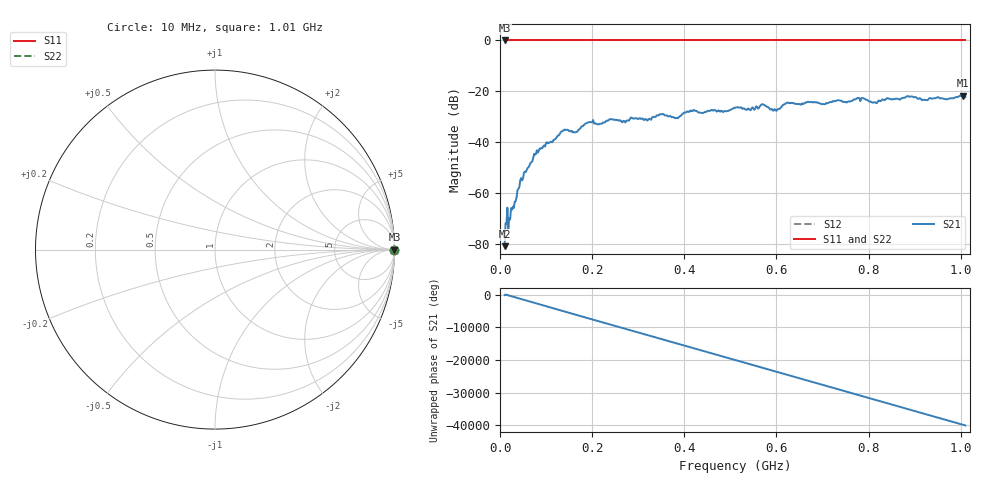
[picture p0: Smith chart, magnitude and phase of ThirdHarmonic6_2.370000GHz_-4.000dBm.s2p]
! 8/17/2025 3:42:01 AM
! C:\ANRITSUVNA\TEMP\TEMP.S2P
! CHANNEL.1
! TR.MEASUREMENT
! RAW.DATA
! RF.CORRECTION.OFF
! AVERAGING.OFF
! IF.BANDWIDTH: 5KHZ
! SWEEPTYPE:  FREQ.SWEEP(Linear)
! Reference Plane Port Info
! PORT:  PORT1  PORT2
! DISTANCE:  0  m  0  m
! TIME:  0  s  0  s
! PHASE.OFFSET:  0  deg.  0  deg.
! LOSS:  0  dB  0  dB
! REF.LOSS:  0  dB  0  dB
! REF.FREQ:  0  Hz  0  Hz
! Power Info
! POWER:  -20  dBm  -20  dBm
! EFF.POWER:  -20  dBm  -20  dBm
! SOURCE.ATTEN:  0  dB  0  dB
! TEST.ATTEN:  0  dB  0  dB
# GHZ S RI R 50.0
! FREQ.GHZ  S11RE  S11IM  S21RE  S21IM  S12RE  S12IM  S22RE  S22IM
!; PortSelection: Port_12
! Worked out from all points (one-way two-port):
!   501 points, 10 MHz to 1.01 GHz, reference 50 ohm
!   highest |S21| = -21.64 dB at 1.004 GHz (marker M1); lowest = -80.8 dB at 10 MHz (marker M2)
!   lowest |S11| = 0.0 dB at 10 MHz (marker M3)
!   |S11| at or under -10 dB: nowhere
!   |S22| runs from 0.0 to 0.0 dB; largest |S21 - S12| = 1.1
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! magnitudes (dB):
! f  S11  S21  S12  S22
! 10 MHz  0.0  -80.8  0.0  0.0
! 16 MHz  0.0  -65.7  0.0  0.0
! 22 MHz  0.0  -70.3  0.0  0.0
! 42 MHz  0.0  -57.5  0.0  0.0
! 76 MHz  0.0  -44.9  0.0  0.0
! 136 MHz  0.0  -35.6  0.0  0.0
! 162 MHz  0.0  -36.1  0.0  0.0
! 178 MHz  0.0  -33.7  0.0  0.0
! 198 MHz  0.0  -32.1  0.0  0.0
! 324 MHz  0.0  -30.7  0.0  0.0
! 344 MHz  0.0  -29.4  0.0  0.0
! 382 MHz  0.0  -30.5  0.0  0.0
! 416 MHz  0.0  -27.8  0.0  0.0
! 510 MHz  0.0  -26.4  0.0  0.0
! 570 MHz  0.0  -25.1  0.0  0.0
! 596 MHz  0.0  -27.0  0.0  0.0
! 624 MHz  0.0  -24.4  0.0  0.0
! 678 MHz  0.0  -24.2  0.0  0.0
! 814 MHz  0.0  -24.2  0.0  0.0
! 844 MHz  0.0  -22.8  0.0  0.0
! 1.004 GHz  0.0  -21.6  0.0  0.0
! 1.01 GHz  0.0  -22.3  0.0  0.0
